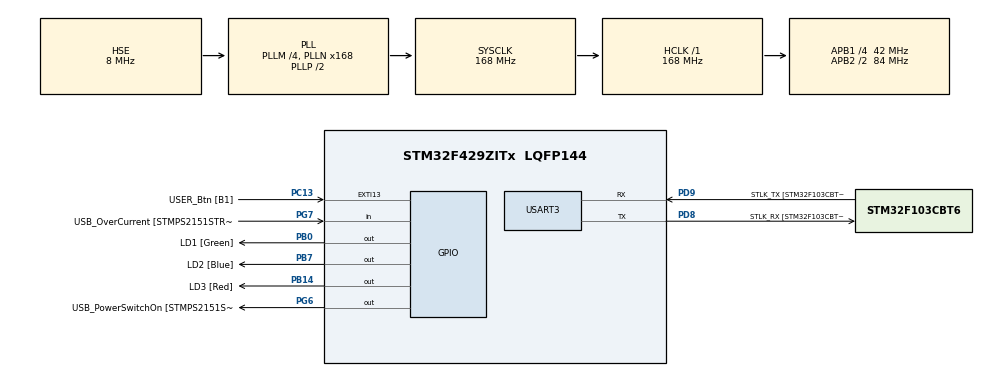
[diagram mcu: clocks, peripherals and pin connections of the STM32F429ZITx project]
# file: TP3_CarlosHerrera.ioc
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Mcu.Family=STM32F4
Mcu.Name=STM32F429ZITx
Mcu.Package=LQFP144
NVIC.PriorityGroup=NVIC_PRIORITYGROUP_4
NVIC.TIM1_UP_TIM10_IRQn=true\:15\:0\:false\:false\:true\:false\:true\:true
NVIC.TimeBase=TIM1_UP_TIM10_IRQn
NVIC.TimeBaseIP=TIM1
PA1.GPIO_Label=RMII_REF_CLK [LAN8742A-CZ-TR_REFCLK0]
PA1.Signal=ETH_REF_CLK
PA10.GPIO_Label=USB_ID
PA10.Signal=USB_OTG_FS_ID
PA11.GPIO_Label=USB_DM
PA11.Signal=USB_OTG_FS_DM
PA12.GPIO_Label=USB_DP
PA12.Signal=USB_OTG_FS_DP
PA13.GPIO_Label=TMS
PA13.Mode=Serial_Wire
PA13.Signal=SYS_JTMS-SWDIO
PA14.GPIO_Label=TCK
PA14.Mode=Serial_Wire
PA14.Signal=SYS_JTCK-SWCLK
PA2.GPIO_Label=RMII_MDIO [LAN8742A-CZ-TR_MDIO]
PA2.Signal=ETH_MDIO
PA7.GPIO_Label=RMII_CRS_DV [LAN8742A-CZ-TR_CRS_DV]
PA7.Signal=ETH_CRS_DV
PA8.GPIO_Label=USB_SOF [TP1]
PA8.Signal=USB_OTG_FS_SOF
PA9.GPIO_Label=USB_VBUS
PA9.Signal=USB_OTG_FS_VBUS
PB0.GPIO_Label=LD1 [Green]
PB0.Signal=GPIO_Output
PB13.GPIO_Label=RMII_TXD1 [LAN8742A-CZ-TR_TXD1]
PB13.Signal=ETH_TXD1
PB14.GPIO_Label=LD3 [Red]
PB14.Signal=GPIO_Output
PB7.GPIO_Label=LD2 [Blue]
PB7.Signal=GPIO_Output
PC1.GPIO_Label=RMII_MDC [LAN8742A-CZ-TR_MDC]
PC1.Signal=ETH_MDC
PC13.GPIO_Label=USER_Btn [B1]
PC13.Signal=GPXTI13
PC14/OSC32_IN.Mode=LSE-External-Oscillator
PC14/OSC32_IN.Signal=RCC_OSC32_IN
PC15/OSC32_OUT.Mode=LSE-External-Oscillator
PC15/OSC32_OUT.Signal=RCC_OSC32_OUT
PC4.GPIO_Label=RMII_RXD0 [LAN8742A-CZ-TR_RXD0]
PC4.Signal=ETH_RXD0
PC5.GPIO_Label=RMII_RXD1 [LAN8742A-CZ-TR_RXD1]
PC5.Signal=ETH_RXD1
PD8.GPIO_Label=STLK_RX [STM32F103CBT6_PA3]
PD8.Mode=Asynchronous
PD8.Signal=USART3_TX
PD9.GPIO_Label=STLK_TX [STM32F103CBT6_PA2]
PD9.Mode=Asynchronous
PD9.Signal=USART3_RX
PG11.GPIO_Label=RMII_TX_EN [LAN8742A-CZ-TR_TXEN]
PG11.Signal=ETH_TX_EN
PG13.GPIO_Label=RMII_TXD0 [LAN8742A-CZ-TR_TXD0]
PG13.Signal=ETH_TXD0
PG6.GPIO_Label=USB_PowerSwitchOn [STMPS2151STR_EN]
PG6.Signal=GPIO_Output
PG7.GPIO_Label=USB_OverCurrent [STMPS2151STR_FAULT]
PG7.Signal=GPIO_Input
PH0/OSC_IN.GPIO_Label=MCO [STM32F103CBT6_PA8]
PH0/OSC_IN.Mode=HSE-External-Clock-Source
PH0/OSC_IN.Signal=RCC_OSC_IN
PH1/OSC_OUT.Mode=HSE-External-Clock-Source
PH1/OSC_OUT.Signal=RCC_OSC_OUT
ProjectManager.HeapSize=0x200
ProjectManager.StackSize=0x400
ProjectManager.TargetToolchain=STM32CubeIDE
RCC.48MHZClocksFreq_Value=48000000
RCC.AHBFreq_Value=168000000
RCC.APB1CLKDivider=RCC_HCLK_DIV4
RCC.APB1Freq_Value=42000000
RCC.APB1TimFreq_Value=84000000
RCC.APB2CLKDivider=RCC_HCLK_DIV2
RCC.APB2Freq_Value=84000000
RCC.APB2TimCLKDivider=2
RCC.APB2TimFreq_Value=168000000
RCC.CortexFreq_Value=168000000
RCC.HCLKFreq_Value=168000000
RCC.HSE_VALUE=8000000
RCC.HSI_VALUE=16000000
RCC.PLLM=4
RCC.PLLMUL=RCC_PLL_MUL9
RCC.PLLN=168
RCC.PLLQ=7
RCC.PLLSourceVirtual=RCC_PLLSOURCE_HSE
RCC.PRESCALERUSB=RCC_USBCLKSOURCE_PLL_DIV1_5
RCC.SYSCLKFreq_VALUE=168000000
RCC.SYSCLKSource=RCC_SYSCLKSOURCE_PLLCLK
RCC.SYSCLKSourceVirtual=RCC_SYSCLKSOURCE_PLLCLK
RCC.USBFreq_Value=48000000
RCC.VCOOutputFreq_Value=336000000
USART3.VirtualMode=VM_ASYNC
VP_SYS_VS_tim1.Mode=TIM1
board=NUCLEO-F429ZI

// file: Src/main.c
/* USER CODE BEGIN Header */
/**
  ******************************************************************************
  * @file           : main.c
  * @brief          : Main program body
  ******************************************************************************
  * @attention
  *
  * Copyright (c) 2023 STMicroelectronics.
  * All rights reserved.
  *
  * This software is licensed under terms that can be found in the LICENSE file
  * in the root directory of this software component.
  * If no LICENSE file comes with this software, it is provided AS-IS.
  *
  ******************************************************************************
  */
/* USER CODE END Header */
#include "main.h"
#include "usart.h"
#include "gpio.h"

/* USER CODE BEGIN Includes */
#include "osKernel.h"
#include "osSemaphore.h"
#include "osQueue.h"
/* USER CODE END Includes */

/* USER CODE BEGIN PV */
osTaskObject osTask1;
osTaskObject osTask2;
osTaskObject osTask3;
osTaskObject osTask4;
osTaskObject osTask5;

uint32_t vt1 = 0;
uint32_t vt2 = 0;
uint32_t vt3 = 0;
uint32_t vt4 = 0;
uint32_t vt5 = 0;
uint32_t vtick = 0;
uint32_t vidle = 0;
uint32_t buffer_queue[10];

osSemaphoreObject osSemaphore1;

osQueueObject osQueue1;
/* USER CODE END PV */

void SystemClock_Config(void);
/* USER CODE BEGIN PFP */
static void task1(void);
static void task2(void);
static void task3(void);
static void task4(void);
static void task5(void);

/* USER CODE END PFP */

int main(void)
{

  /* MCU Configuration--------------------------------------------------------*/

  /* Reset of all peripherals, Initializes the Flash interface and the Systick. */
  HAL_Init();

  /* Configure the system clock */
  SystemClock_Config();

  /* Initialize all configured peripherals */
  MX_GPIO_Init();
  MX_USART3_UART_Init();
  /* USER CODE BEGIN 2 */
  HAL_GPIO_WritePin(LD1_GPIO_Port, LD1_Pin, GPIO_PIN_RESET);
  HAL_GPIO_WritePin(LD2_GPIO_Port, LD2_Pin, GPIO_PIN_RESET);
  HAL_GPIO_WritePin(LD3_GPIO_Port, LD3_Pin, GPIO_PIN_RESET);

  osTaskCreate(&osTask1, OS_VERYHIGH_PRIORITY, task1);
  osTaskCreate(&osTask2, OS_VERYHIGH_PRIORITY, task2);
  osTaskCreate(&osTask3, OS_VERYHIGH_PRIORITY, task3);
  osTaskCreate(&osTask4, OS_LOW_PRIORITY, task4);
  osTaskCreate(&osTask5, OS_LOW_PRIORITY, task5);

  osSemaphoreInit(&osSemaphore1, 1, 1);

  osQueueInit(&osQueue1,sizeof(uint32_t));

  osStart();
  /* USER CODE END 2 */

  /* Infinite loop */
  while (1)
  {

    /* USER CODE BEGIN 3 */
      __WFI();
  }
  /* USER CODE END 3 */
}

void SystemClock_Config(void)
{
  RCC_OscInitTypeDef RCC_OscInitStruct = {0};
  RCC_ClkInitTypeDef RCC_ClkInitStruct = {0};

  /** Configure the main internal regulator output voltage
  */
  __HAL_RCC_PWR_CLK_ENABLE();
  __HAL_PWR_VOLTAGESCALING_CONFIG(PWR_REGULATOR_VOLTAGE_SCALE1);

  /** Initializes the RCC Oscillators according to the specified parameters
  * in the RCC_OscInitTypeDef structure.
  */
  RCC_OscInitStruct.OscillatorType = RCC_OSCILLATORTYPE_HSE;
  RCC_OscInitStruct.HSEState = RCC_HSE_BYPASS;
  RCC_OscInitStruct.PLL.PLLState = RCC_PLL_ON;
  RCC_OscInitStruct.PLL.PLLSource = RCC_PLLSOURCE_HSE;
  RCC_OscInitStruct.PLL.PLLM = 4;
  RCC_OscInitStruct.PLL.PLLN = 168;
  RCC_OscInitStruct.PLL.PLLP = RCC_PLLP_DIV2;
  RCC_OscInitStruct.PLL.PLLQ = 7;
  if (HAL_RCC_OscConfig(&RCC_OscInitStruct) != HAL_OK)
  {
    Error_Handler();
  }

  /** Initializes the CPU, AHB and APB buses clocks
  */
  RCC_ClkInitStruct.ClockType = RCC_CLOCKTYPE_HCLK|RCC_CLOCKTYPE_SYSCLK
                              |RCC_CLOCKTYPE_PCLK1|RCC_CLOCKTYPE_PCLK2;
  RCC_ClkInitStruct.SYSCLKSource = RCC_SYSCLKSOURCE_PLLCLK;
  RCC_ClkInitStruct.AHBCLKDivider = RCC_SYSCLK_DIV1;
  RCC_ClkInitStruct.APB1CLKDivider = RCC_HCLK_DIV4;
  RCC_ClkInitStruct.APB2CLKDivider = RCC_HCLK_DIV2;

  if (HAL_RCC_ClockConfig(&RCC_ClkInitStruct, FLASH_LATENCY_5) != HAL_OK)
  {
    Error_Handler();
  }
}

/* USER CODE BEGIN 4 */

static void task1(void)
{
	uint8_t tempbuffer;
	bool_t auxflag=true;
//    uint32_t i = 0;
    osSemaphoreTake(&osSemaphore1);
    osSemaphoreTake(&osSemaphore1);

    while(1)
    {
        vt1++;
        osDelay(100);
        HAL_GPIO_TogglePin(LD2_GPIO_Port, LD2_Pin);
//        osQueueSend(&osQueue1, &vt1, 0);
        if (auxflag) {
            osQueueReceive(&osQueue1, (void*) &tempbuffer, 6000);
            auxflag=false;
		}
    }
}

static void task2(void)
{
//    uint32_t j = 0;

    while(1)
    {
    	vt2++;
        osDelay(1000);
        HAL_GPIO_TogglePin(LD3_GPIO_Port, LD3_Pin);
        osSemaphoreGive(&osSemaphore1);
    }
}

static void task3(void)
{
//    uint32_t k = 0;

    while(1)
    {
    	vt3++;
//        osDelay(4000);
//        for (int var = 0; var < 5; ++var) {
//            osQueueReceive(&osQueue1, &buffer_queue[var], 0);
//		}
//        HAL_GPIO_TogglePin(LD1_GPIO_Port, LD1_Pin);
    }
}

static void task4(void)
{
//    uint32_t m = 0;

    while(1)
    {
    	vt4++;
//        osDelay(30000);
    }
}

static void task5(void)
{
//    uint32_t n = 0;

    while(1)
    {
    	vt5++;
//        osDelay(30000);
    }
}

void osSysTickHook(void)
{
	vtick++;
}

void osIdleTask(void)
{
    while(1)
    {
    	vidle++;
    }
}
/* USER CODE END 4 */

void HAL_TIM_PeriodElapsedCallback(TIM_HandleTypeDef *htim)
{
  if (htim->Instance == TIM1) {
    HAL_IncTick();
  }
}

void Error_Handler(void)
{
  __disable_irq();
  while (1)
  {
  }
}
